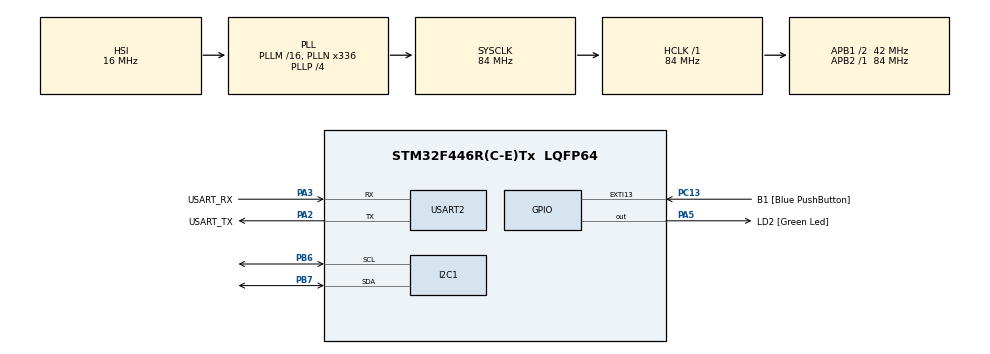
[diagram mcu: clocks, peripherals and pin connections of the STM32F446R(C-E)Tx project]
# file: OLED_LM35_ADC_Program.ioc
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ADC1.Channel-0\#ChannelRegularConversion=ADC_CHANNEL_TEMPSENSOR
ADC1.ContinuousConvMode=ENABLE
ADC1.NbrOfConversionFlag=1
ADC1.Rank-0\#ChannelRegularConversion=1
ADC1.SamplingTime-0\#ChannelRegularConversion=ADC_SAMPLETIME_3CYCLES
ADC1.ScanConvMode=ENABLE
ADC1.master=1
Mcu.Family=STM32F4
Mcu.Name=STM32F446R(C-E)Tx
Mcu.Package=LQFP64
NVIC.PriorityGroup=NVIC_PRIORITYGROUP_0
PA13.GPIO_Label=TMS
PA13.Mode=Serial_Wire
PA13.Signal=SYS_JTMS-SWDIO
PA14.GPIO_Label=TCK
PA14.Mode=Serial_Wire
PA14.Signal=SYS_JTCK-SWCLK
PA2.GPIO_Label=USART_TX
PA2.Mode=Asynchronous
PA2.Signal=USART2_TX
PA3.GPIO_Label=USART_RX
PA3.Mode=Asynchronous
PA3.Signal=USART2_RX
PA5.GPIO_Label=LD2 [Green Led]
PA5.Signal=GPIO_Output
PB3.GPIO_Label=SWO
PB3.Signal=SYS_JTDO-SWO
PB6.Mode=I2C
PB6.Signal=I2C1_SCL
PB7.Mode=I2C
PB7.Signal=I2C1_SDA
PC13.GPIO_Label=B1 [Blue PushButton]
PC13.GPIO_ModeDefaultEXTI=GPIO_MODE_IT_FALLING
PC13.Signal=GPXTI13
PC14-OSC32_IN.Mode=LSE-External-Oscillator
PC14-OSC32_IN.Signal=RCC_OSC32_IN
PC15-OSC32_OUT.Mode=LSE-External-Oscillator
PC15-OSC32_OUT.Signal=RCC_OSC32_OUT
PH0-OSC_IN.Mode=HSE-External-Oscillator
PH0-OSC_IN.Signal=RCC_OSC_IN
PH1-OSC_OUT.Mode=HSE-External-Oscillator
PH1-OSC_OUT.Signal=RCC_OSC_OUT
ProjectManager.HeapSize=0x200
ProjectManager.StackSize=0x400
ProjectManager.TargetToolchain=STM32CubeIDE
RCC.48MHZClocksFreq_Value=84000000
RCC.AHBFreq_Value=84000000
RCC.APB1CLKDivider=RCC_HCLK_DIV2
RCC.APB1Freq_Value=42000000
RCC.APB1TimFreq_Value=84000000
RCC.APB2Freq_Value=84000000
RCC.APB2TimFreq_Value=84000000
RCC.CortexFreq_Value=84000000
RCC.FLatency-AdvancedSettings=FLASH_LATENCY_2
RCC.HCLKFreq_Value=84000000
RCC.HSE_VALUE=8000000
RCC.HSI_VALUE=16000000
RCC.PLLN=336
RCC.PLLP=RCC_PLLP_DIV4
RCC.SYSCLKFreq_VALUE=84000000
RCC.SYSCLKSource=RCC_SYSCLKSOURCE_PLLCLK
RCC.USBFreq_Value=168000000
RCC.VCOOutputFreq_Value=336000000
USART2.VirtualMode=VM_ASYNC
VP_ADC1_TempSens_Input.Mode=IN-TempSens
board=NUCLEO-F446RE

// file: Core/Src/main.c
/* USER CODE BEGIN Header */
/**
  ******************************************************************************
  * @file           : main.c
  * @brief          : Main program body
  ******************************************************************************
  * @attention
  *
  * Copyright (c) 2025 STMicroelectronics.
  * All rights reserved.
  *
  * This software is licensed under terms that can be found in the LICENSE file
  * in the root directory of this software component.
  * If no LICENSE file comes with this software, it is provided AS-IS.
  *
  ******************************************************************************
  */
/* USER CODE END Header */
#include "main.h"
#include "stm32f4xx_it.h"

/* USER CODE BEGIN Includes */
#include <stdint.h>
#include "stm32_f446xx.h"
#include "LM35.h"
#include "fonts.h"
#include "ssd1306.h"
/* USER CODE END Includes */

ADC_HandleTypeDef hadc1;

UART_HandleTypeDef huart2;

void SystemClock_Config(void);
static void MX_GPIO_Init(void);
static void MX_ADC1_Init(void);
static void MX_USART2_UART_Init(void);

int main(void)
{

  /* MCU Configuration--------------------------------------------------------*/

  /* Reset of all peripherals, Initializes the Flash interface and the Systick. */
  HAL_Init();
  ADC_init();

  /* Configure the system clock */
  SystemClock_Config();

  /* Initialize all configured peripherals */
  MX_GPIO_Init();
  MX_ADC1_Init();
  MX_USART2_UART_Init();
  /* USER CODE BEGIN 2 */
  MX_GPIO_Init();
   MX_USART2_UART_Init();
   MX_I2C1_Init();
   /* USER CODE BEGIN 2 */
   SSD1306_Init();
   SSD1306_GotoXY (0,0);
   SSD1306_Puts ("Temperature: ", &Font_11x18, 1);
   SSD1306_GotoXY (0, 30);
   SSD1306_Puts (tempC, &Font_11x18, 1);
   SSD1306_UpdateScreen();
   HAL_Delay (1000);
   //SSD1306_ScrollRight(0,7);
   //HAL_Delay(3000);
   //SSD1306_ScrollLeft(1,7);
   //HAL_Delay(3000);
   //SSD1306_Stopscroll();
   SSD1306_Clear();
  /* USER CODE END 2 */

  /* Infinite loop */
  while (1)
  {
	  while(!(ADC1->ADC_SR & (1 << 1)));  						// Wait for End of conversion becomes 1
	  uint16_t adc_value = ADC1->ADC_DR;						// Read ADC Value
	  float voltage = (adc_value * 3.3f) / 4095.0f;
	  float tempC = voltage * 100.0f;   						// 10mV per °C

	  printf("Temperature = %.2f degC\n", tempC);
	  for (volatile int i = 0; i < 100000; i++);				// small delay
  }
}

void SystemClock_Config(void)
{
  RCC_OscInitTypeDef RCC_OscInitStruct = {0};
  RCC_ClkInitTypeDef RCC_ClkInitStruct = {0};

  /** Configure the main internal regulator output voltage
  */
  __HAL_RCC_PWR_CLK_ENABLE();
  __HAL_PWR_VOLTAGESCALING_CONFIG(PWR_REGULATOR_VOLTAGE_SCALE3);

  /** Initializes the RCC Oscillators according to the specified parameters
  * in the RCC_OscInitTypeDef structure.
  */
  RCC_OscInitStruct.OscillatorType = RCC_OSCILLATORTYPE_HSI;
  RCC_OscInitStruct.HSIState = RCC_HSI_ON;
  RCC_OscInitStruct.HSICalibrationValue = RCC_HSICALIBRATION_DEFAULT;
  RCC_OscInitStruct.PLL.PLLState = RCC_PLL_ON;
  RCC_OscInitStruct.PLL.PLLSource = RCC_PLLSOURCE_HSI;
  RCC_OscInitStruct.PLL.PLLM = 16;
  RCC_OscInitStruct.PLL.PLLN = 336;
  RCC_OscInitStruct.PLL.PLLP = RCC_PLLP_DIV4;
  RCC_OscInitStruct.PLL.PLLQ = 2;
  RCC_OscInitStruct.PLL.PLLR = 2;
  if (HAL_RCC_OscConfig(&RCC_OscInitStruct) != HAL_OK)
  {
    Error_Handler();
  }

  /** Initializes the CPU, AHB and APB buses clocks
  */
  RCC_ClkInitStruct.ClockType = RCC_CLOCKTYPE_HCLK|RCC_CLOCKTYPE_SYSCLK
                              |RCC_CLOCKTYPE_PCLK1|RCC_CLOCKTYPE_PCLK2;
  RCC_ClkInitStruct.SYSCLKSource = RCC_SYSCLKSOURCE_PLLCLK;
  RCC_ClkInitStruct.AHBCLKDivider = RCC_SYSCLK_DIV1;
  RCC_ClkInitStruct.APB1CLKDivider = RCC_HCLK_DIV2;
  RCC_ClkInitStruct.APB2CLKDivider = RCC_HCLK_DIV1;

  if (HAL_RCC_ClockConfig(&RCC_ClkInitStruct, FLASH_LATENCY_2) != HAL_OK)
  {
    Error_Handler();
  }
}

static void MX_ADC1_Init(void)
{

  ADC_ChannelConfTypeDef sConfig = {0};

  /** Configure the global features of the ADC (Clock, Resolution, Data Alignment and number of conversion)
  */
  hadc1.Instance = ADC1;
  hadc1.Init.ClockPrescaler = ADC_CLOCK_SYNC_PCLK_DIV4;
  hadc1.Init.Resolution = ADC_RESOLUTION_12B;
  hadc1.Init.ScanConvMode = ENABLE;
  hadc1.Init.ContinuousConvMode = ENABLE;
  hadc1.Init.DiscontinuousConvMode = DISABLE;
  hadc1.Init.ExternalTrigConvEdge = ADC_EXTERNALTRIGCONVEDGE_NONE;
  hadc1.Init.ExternalTrigConv = ADC_SOFTWARE_START;
  hadc1.Init.DataAlign = ADC_DATAALIGN_RIGHT;
  hadc1.Init.NbrOfConversion = 1;
  hadc1.Init.DMAContinuousRequests = DISABLE;
  hadc1.Init.EOCSelection = ADC_EOC_SINGLE_CONV;
  if (HAL_ADC_Init(&hadc1) != HAL_OK)
  {
    Error_Handler();
  }

  /** Configure for the selected ADC regular channel its corresponding rank in the sequencer and its sample time.
  */
  sConfig.Channel = ADC_CHANNEL_TEMPSENSOR;
  sConfig.Rank = 1;
  sConfig.SamplingTime = ADC_SAMPLETIME_3CYCLES;
  if (HAL_ADC_ConfigChannel(&hadc1, &sConfig) != HAL_OK)
  {
    Error_Handler();
  }

}

static void MX_USART2_UART_Init(void)
{

  huart2.Instance = USART2;
  huart2.Init.BaudRate = 115200;
  huart2.Init.WordLength = UART_WORDLENGTH_8B;
  huart2.Init.StopBits = UART_STOPBITS_1;
  huart2.Init.Parity = UART_PARITY_NONE;
  huart2.Init.Mode = UART_MODE_TX_RX;
  huart2.Init.HwFlowCtl = UART_HWCONTROL_NONE;
  huart2.Init.OverSampling = UART_OVERSAMPLING_16;
  if (HAL_UART_Init(&huart2) != HAL_OK)
  {
    Error_Handler();
  }

}

static void MX_GPIO_Init(void)
{
  GPIO_InitTypeDef GPIO_InitStruct = {0};

  /* GPIO Ports Clock Enable */
  __HAL_RCC_GPIOC_CLK_ENABLE();
  __HAL_RCC_GPIOH_CLK_ENABLE();
  __HAL_RCC_GPIOA_CLK_ENABLE();
  __HAL_RCC_GPIOB_CLK_ENABLE();

  /*Configure GPIO pin Output Level */
  HAL_GPIO_WritePin(LD2_GPIO_Port, LD2_Pin, GPIO_PIN_RESET);

  /*Configure GPIO pin : B1_Pin */
  GPIO_InitStruct.Pin = B1_Pin;
  GPIO_InitStruct.Mode = GPIO_MODE_IT_FALLING;
  GPIO_InitStruct.Pull = GPIO_NOPULL;
  HAL_GPIO_Init(B1_GPIO_Port, &GPIO_InitStruct);

  /*Configure GPIO pin : LD2_Pin */
  GPIO_InitStruct.Pin = LD2_Pin;
  GPIO_InitStruct.Mode = GPIO_MODE_OUTPUT_PP;
  GPIO_InitStruct.Pull = GPIO_NOPULL;
  GPIO_InitStruct.Speed = GPIO_SPEED_FREQ_LOW;
  HAL_GPIO_Init(LD2_GPIO_Port, &GPIO_InitStruct);

}

void Error_Handler(void)
{
  __disable_irq();
  while (1)
  {
  }
}
